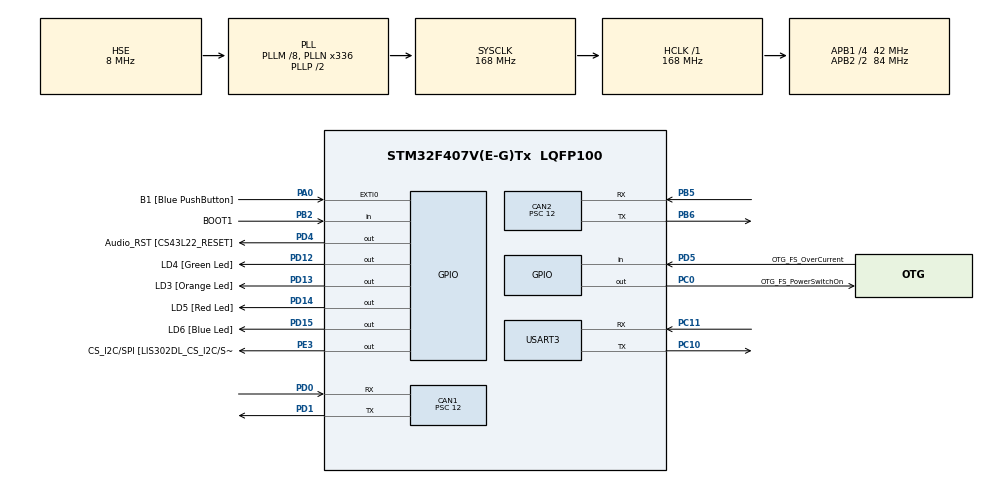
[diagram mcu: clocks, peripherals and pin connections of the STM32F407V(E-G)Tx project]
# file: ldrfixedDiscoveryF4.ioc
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CAN1.BS1=CAN_BS1_5TQ
CAN1.CalculateBaudRate=500000
CAN1.CalculateTimeBit=2000
CAN1.CalculateTimeQuantum=285.7142857142857
CAN1.Prescaler=12
CAN2.BS1=CAN_BS1_5TQ
CAN2.CalculateBaudRate=500000
CAN2.CalculateTimeBit=2000
CAN2.CalculateTimeQuantum=285.7142857142857
CAN2.Prescaler=12
Mcu.Family=STM32F4
Mcu.Name=STM32F407V(E-G)Tx
Mcu.Package=LQFP100
NVIC.CAN1_RX0_IRQn=true\:5\:0\:true\:false\:true\:true\:true\:true
NVIC.CAN1_RX1_IRQn=true\:5\:0\:true\:false\:true\:true\:true\:true
NVIC.CAN1_TX_IRQn=true\:5\:0\:true\:false\:true\:true\:true\:true
NVIC.CAN2_RX0_IRQn=true\:0\:0\:false\:false\:true\:true\:true\:true
NVIC.CAN2_RX1_IRQn=true\:0\:0\:false\:false\:true\:true\:true\:true
NVIC.CAN2_TX_IRQn=true\:0\:0\:false\:false\:true\:true\:true\:true
NVIC.PriorityGroup=NVIC_PRIORITYGROUP_4
NVIC.USART3_IRQn=true\:5\:0\:true\:false\:true\:true\:true\:true
PA0-WKUP.GPIO_Label=B1 [Blue PushButton]
PA0-WKUP.Signal=GPXTI0
PA13.GPIO_Label=SWDIO
PA13.Mode=Serial_Wire
PA13.Signal=SYS_JTMS-SWDIO
PA14.GPIO_Label=SWCLK
PA14.Mode=Serial_Wire
PA14.Signal=SYS_JTCK-SWCLK
PB2.GPIO_Label=BOOT1
PB2.GPIO_Mode=GPIO_MODE_INPUT
PB2.GPIO_PuPd=GPIO_NOPULL
PB2.Signal=GPIO_Input
PB5.Mode=CAN_Activate
PB5.Signal=CAN2_RX
PB6.Mode=CAN_Activate
PB6.Signal=CAN2_TX
PC0.GPIO_Label=OTG_FS_PowerSwitchOn
PC0.GPIO_PuPd=GPIO_NOPULL
PC0.GPIO_Speed=GPIO_SPEED_FREQ_LOW
PC0.PinState=GPIO_PIN_SET
PC0.Signal=GPIO_Output
PC10.Mode=Asynchronous
PC10.Signal=USART3_TX
PC11.Mode=Asynchronous
PC11.Signal=USART3_RX
PD0.Mode=CAN_Activate
PD0.Signal=CAN1_RX
PD1.Mode=CAN_Activate
PD1.Signal=CAN1_TX
PD12.GPIO_Label=LD4 [Green Led]
PD12.GPIO_PuPd=GPIO_NOPULL
PD12.GPIO_Speed=GPIO_SPEED_FREQ_LOW
PD12.Signal=GPIO_Output
PD13.GPIO_Label=LD3 [Orange Led]
PD13.GPIO_PuPd=GPIO_NOPULL
PD13.GPIO_Speed=GPIO_SPEED_FREQ_LOW
PD13.Signal=GPIO_Output
PD14.GPIO_Label=LD5 [Red Led]
PD14.GPIO_PuPd=GPIO_NOPULL
PD14.GPIO_Speed=GPIO_SPEED_FREQ_LOW
PD14.Signal=GPIO_Output
PD15.GPIO_Label=LD6 [Blue Led]
PD15.GPIO_PuPd=GPIO_NOPULL
PD15.GPIO_Speed=GPIO_SPEED_FREQ_LOW
PD15.Signal=GPIO_Output
PD4.GPIO_Label=Audio_RST [CS43L22_RESET]
PD4.GPIO_PuPd=GPIO_NOPULL
PD4.GPIO_Speed=GPIO_SPEED_FREQ_LOW
PD4.Signal=GPIO_Output
PD5.GPIO_Label=OTG_FS_OverCurrent
PD5.GPIO_Mode=GPIO_MODE_INPUT
PD5.GPIO_PuPd=GPIO_NOPULL
PD5.Signal=GPIO_Input
PE3.GPIO_Label=CS_I2C/SPI [LIS302DL_CS_I2C/SPI]
PE3.GPIO_PuPd=GPIO_NOPULL
PE3.GPIO_Speed=GPIO_SPEED_FREQ_LOW
PE3.Signal=GPIO_Output
PH0-OSC_IN.GPIO_Label=PH0-OSC_IN
PH0-OSC_IN.Mode=HSE-External-Oscillator
PH0-OSC_IN.Signal=RCC_OSC_IN
PH1-OSC_OUT.GPIO_Label=PH1-OSC_OUT
PH1-OSC_OUT.Mode=HSE-External-Oscillator
PH1-OSC_OUT.Signal=RCC_OSC_OUT
ProjectManager.HeapSize=0x200
ProjectManager.StackSize=0x400
ProjectManager.TargetToolchain=Makefile
RCC.48MHZClocksFreq_Value=48000000
RCC.AHBFreq_Value=168000000
RCC.APB1CLKDivider=RCC_HCLK_DIV4
RCC.APB1Freq_Value=42000000
RCC.APB1TimFreq_Value=84000000
RCC.APB2CLKDivider=RCC_HCLK_DIV2
RCC.APB2Freq_Value=84000000
RCC.APB2TimFreq_Value=168000000
RCC.CortexFreq_Value=168000000
RCC.HCLKFreq_Value=168000000
RCC.HSE_VALUE=8000000
RCC.HSI_VALUE=16000000
RCC.LSE_VALUE=32768
RCC.PLLM=8
RCC.PLLN=336
RCC.PLLQ=7
RCC.PLLSourceVirtual=RCC_PLLSOURCE_HSE
RCC.SYSCLKFreq_VALUE=168000000
RCC.SYSCLKSource=RCC_SYSCLKSOURCE_PLLCLK
RCC.VCOOutputFreq_Value=336000000
USART3.VirtualMode=VM_ASYNC
VP_CRC_VS_CRC.Mode=CRC_Activate
VP_WWDG_VS_WWDG.Mode=WWDG_Activate
board=STM32F407G-DISC1

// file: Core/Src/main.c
/* USER CODE BEGIN Header */
/**
  ******************************************************************************
  * @file           : main.c
  * @brief          : Main program body
  ******************************************************************************
  * @attention
  *
  * Copyright (c) 2025 STMicroelectronics.
  * All rights reserved.
  *
  * This software is licensed under terms that can be found in the LICENSE file
  * in the root directory of this software component.
  * If no LICENSE file comes with this software, it is provided AS-IS.
  *
  ******************************************************************************
  */
/* USER CODE END Header */
#include "main.h"

/* USER CODE BEGIN Includes */
#include <stdio.h>
#include <string.h>
#include "DTW_counter.h"
#include "system_reset.h"
#include "morse.h"
#include "canwinch_ldrproto.h"
#include "can_iface.h"
#include "canfilter_setup.h"
#include "flash_write.h"
#include "crc-chk-compute.h"

#include "crc-32_hw.h"
#include "crc-32_sw.h"

#include "crc-32_nib.h"
#include "crc-32_min.h"

#include "db/gen_db.h"

extern uint32_t __appbegin;

//#define SYSCLOCKFREQ 168000000
#define UI unsigned int // Cast for eliminating printf warnings

#if 0
/* &&&&&&&&&&&&& Each node on the CAN bus gets a unit number &&&&&&&&&&&&&&&&&&&&&&&&&& */
#include "db/gen_db.h"
#define   IAMUNITNUMBER   CANID_UNIT_BMS03  /* Fixed loader (serial number concept) */
#define   BOARDTYPE   3   /* Board type (e.g. shaft encoder, manifold pressure, tension,... */
/* &&&&&&&&&&&&&&&&&&&&&&&&&&&&&&&&&&&&&&&&&&&&&&&&&&&&&&&&&&&&&&&&&&&&&&&&&&&&&&&&&&&& */
#endif

/* USER CODE END Includes */

/* USER CODE BEGIN PTD */
uint32_t pgblocksize1;
 uint32_t unique_id[3];
 uint32_t can_waitdelay_ct;
 uint32_t end_flash;
 uint16_t flashsize;
 uint8_t ldr_phase;

uint64_t binchksum;
uint32_t* papp_crc;
uint32_t* papp_chk;
uint32_t waitctr;
 uint8_t apperr;

 struct CRCCHKEMBED crcchkembed;
 struct CRC_CHK crc_chk;

 /* Milliseconds that prevents loop in main from jumping to app. */
extern int32_t squelch_ms;
extern uint8_t squelch_flag;
extern uint32_t dtwmsnext;

/* .ramcode pointers. (See .ld file) */
uint8_t sramcode_sw;
extern uint8_t* _siramcode;
extern uint8_t* _sramcode;
extern uint8_t  _eramcode;

unsigned int ck;
uint32_t chkctr;

 struct CAN_CTLBLOCK* pctl0; // Pointer to CAN1 control block
//struct CAN_CTLBLOCK* pctl1; // Pointer to CAN2 control block

uint32_t debugTX1b;
uint32_t debugTX1b_prev;

uint32_t debugTX1c;
uint32_t debugTX1c_prev;
/* USER CODE END PTD */

CAN_HandleTypeDef hcan1;
CAN_HandleTypeDef hcan2;

CRC_HandleTypeDef hcrc;

UART_HandleTypeDef huart3;

WWDG_HandleTypeDef hwwdg;

void SystemClock_Config(void);
static void MX_GPIO_Init(void);
static void MX_CAN1_Init(void);
static void MX_USART3_UART_Init(void);
static void MX_CAN2_Init(void);
static void MX_CRC_Init(void);
static void MX_WWDG_Init(void);

/* USER CODE BEGIN 0 */
#ifdef __GNUC__
#define PUTCHAR_PROTOTYPE int __io_putchar(int ch)
#else
#define PUTCHAR_PROTOTYPE int fputc(int ch, FILE *f)
#endif

PUTCHAR_PROTOTYPE
{
  HAL_UART_Transmit(&huart3, (uint8_t *)&ch, 1, HAL_MAX_DELAY);
  return ch;
}
/* USER CODE END 0 */

int main(void)
{

  /* USER CODE BEGIN 1 */
   volatile uint32_t dtw; // DTW time
/* --------------------- Type of RESET detection and dispatch ------------------------------------- */
  extern void* __appjump; // Defined in ldr.ld file
#if 1
  /* Check type of RESET and set us on the correct journey. */
  uint32_t rcc_csr = RCC->CSR;  // Get reset flags
  /* NOTE: RMVF is bit 23 for L431. */
  RCC->CSR |= (1 << 24); // Bit 24 RMVF: Remove reset flag (prep for next RESET)
  if (rcc_csr & (1 << 29))  // Was it Independent watchdog reset flag?
  { // Here, yes. The app's embedded crc and checksum are OK.
    *(uint32_t*)ADDR_SCB_VTOR = 0x10000; // Shift vector table to new position.

    __DSB(); // Data barrier sync, JIC

    /* Jump to app. */
    (*(  (void (*)(void))__appjump)  )(); // Indirect via label in .ld file
  }
  /* Here, not the IWDG flag, so printf some stuff and wait for possible download, before app jump. */
#endif

  /* USER CODE END 1 */

  /* MCU Configuration--------------------------------------------------------*/

  /* Reset of all peripherals, Initializes the Flash interface and the Systick. */
  HAL_Init();

  /* Configure the system clock */
  SystemClock_Config();

  /* Initialize all configured peripherals */
  MX_GPIO_Init();
  MX_CAN1_Init();
  MX_USART3_UART_Init();
  MX_CAN2_Init();
  MX_CRC_Init();
//  MX_WWDG_Init();

  /* USER CODE BEGIN 2 */
  DTW_counter_init();

  /* CAN ID for this node is passed in to make from command line. */
  unsigned int i_am_canid = I_AM_CANID;

  /* Copy code that runs in sram. */
  if (sramcode_sw == 0)
  {
    sramcode_sw = 1;
    memmove(&_sramcode, &_siramcode, ((uint32_t)&_eramcode - (uint32_t)&_sramcode));
  }

   printf("\n\n\n\r######### ldrfixedDiscoveryF4 STARTS, 0x%0X\n",i_am_canid);

   // CubeMX may have these initially RESET which is ON.
   // DiscoveryF4 0 = off; 1 = on
   //HAL_GPIO_WritePin(GPIOB, LED_RED_Pin|LED_GRN_Pin, GPIO_PIN_SET);

/* Setup TX linked list  and RX buffer for CAN  */
   // CAN1 (CAN_HandleTypeDef *phcan, uint8_t canidx, uint16_t numtx, uint16_t numrx);
  pctl0 = can_iface_init(&hcan1, 0, 16, 2048);
  if (pctl0 == NULL) morse_trap(118); // Panic LED flashing
  if (pctl0->ret < 0) morse_trap(119);

  /* Setup CAN hardware filters to default to accept all ids. */
  HAL_StatusTypeDef Cret;
  Cret = canfilter_setup_first(0, &hcan1, 15); // CAN1
  if (Cret == HAL_ERROR) morse_trap(122);

/* @brief : Add a 32b id, advance bank number & odd/even
 * @param : cannum = CAN module number 1, 2, or 3
 * @param : phcan = Pointer to HAL CAN handle (control block)
 * @param : id    = 32b CAN id
 * @param : fifo  = fifo: 0 or 1
 * @return  : HAL_ERROR or HAL_OK  */
  Cret = canfilter_setup_add32b_id(1, &hcan1, i_am_canid, 0);
  if (Cret == HAL_ERROR) morse_trap(123);

      /* Select interrupts for CAN1 */
  HAL_CAN_ActivateNotification(&hcan1, \
    CAN_IT_TX_MAILBOX_EMPTY     |  \
    CAN_IT_RX_FIFO0_MSG_PENDING |  \
    CAN_IT_RX_FIFO1_MSG_PENDING    );

  #define DTW_INC_printf (1000 * 168000) // 168 MHz sysclock
  uint32_t DTW_next_LED = DTWTIME;
  #define DTW_INC_LED (250 * 168000)
  uint32_t DTW_next_printf = DTWTIME;

  unsigned int mctr = 0;

  pgblocksize1 = PGBUFSIZE; //
  unique_id[0] = *(uint32_t*)(ADDR_UNIQUE_ID+0);
  unique_id[1] = *(uint32_t*)(ADDR_UNIQUE_ID+1);
  unique_id[2] = *(uint32_t*)(ADDR_UNIQUE_ID+2);
  flashsize = *(uint16_t*)FLASH_SIZE_REG;
  end_flash = flashsize*1024 + 0x08000000;
  printf("\n\rUnique ID : %08X %08X %08X",(UI)unique_id[0],(UI)unique_id[1],(UI)unique_id[2]);
  printf("\n\rFlash size:     %uK\n\r",(UI)flashsize);
  printf("\n\rEnd addr  :    0x%08X end_flash\n\r",(UI)end_flash);

/* -------------- Get the program loader stuff setup -------------------------------------- */
//  canwinch_ldrproto_init(IAMUNITNUMBER);
  canwinch_ldrproto_init(i_am_canid);

  // for debug multipy the increment to give the hapless Op time to think
  can_waitdelay_ct = (DTWTIME + 1*SYSCLOCKFREQ); // Time duration between heartbeat CAN msgs while waiting

 // printf("\n\r\nAddresses: &__appjump %08X   __appjump %08X\n\r",(UI)&__appjump,(UI)__appjump);

  /* ----------------- CRC|checksum check of application. ---------------------------------- */

  int16_t apperr = crc_chk_compute_getembed(&crcchkembed);
  if (apperr == 0)
  {
    crc_chk_compute_app(&crc_chk, crcchkembed.pend);
    /* Do embedded crc and chk match computed crc and chk? */
    if ((crcchkembed.crc_chk.crc != crc_chk.crc) ||
        (crcchkembed.crc_chk.chk != crc_chk.chk) )
    { // Here, no.
      apperr = -9; // Compare: mismatch
    }
  }

  HAL_CAN_Start(&hcan1); // CAN1
  waitctr = 0;

  CRC->CR = 0x01; // 32b poly, + reset CRC computation

  /* USER CODE END 2 */

  /* Infinite loop */
  while (1)
  {

    /* USER CODE BEGIN 3 */

    /* Time how long squelch will be in effect. */
    if ((squelch_flag != 0) && ((int32_t)(DTWTIME - dtwmsnext) > 0))
    { // Here, CAN msg set squelch and time duration
      dtwmsnext += SYSCLOCKFREQ/10; // 100 ms steps
      squelch_ms -= 100;
      if (squelch_ms <= 0)
      {
        squelch_flag = 0;
      }
    }

    if ((int32_t)(DTWTIME - DTW_next_printf) > 0)
    {
      DTW_next_printf = DTW_next_printf + DTW_INC_printf;
      if (ldr_phase == 0)
      {
        printf("%5u ldrfixedF446 waiting\n\r",mctr++);
      }
    }

    /* LED blinking */
    if ((int32_t)(DTWTIME - DTW_next_LED) > 0)
    {
      DTW_next_LED = DTW_next_LED + DTW_INC_LED;
      if ((GPIOD->ODR & (1<<14)) == 0)
           GPIOD->BSRR = (1<<14);
      else
           GPIOD->BSRR = (1<<(14+16));
    }

    /* The following is needed if IWDG was enabled in 'MX' */
    IWDG->KR  = 0xAAAA; // Reload the watchdog

    /* Do loader'ing, if there are applicable msgs. */
    canwinch_ldrproto_poll(i_am_canid); //

    /* Have we written to flash?  If so, don't jump to the the app unless commanded. */
    if (ldr_phase == 0)
    { // Here, we haven't done anything to disturb the integrity of the app
      if (  ((int)can_waitdelay_ct - (int)(DTWTIME)) < 0 )
      { // We timed out.
        can_waitdelay_ct = (DTWTIME + 1*SYSCLOCKFREQ);
        waitctr += 1;
        if (waitctr < 7)
        { // Here, send a heartbeat CAN msg with status
 //         if (squelch_flag == 0)
          {
            sendcanCMD_PAY1(CMD_CMD_HEARTBEAT,apperr);
          }
        }
        else
        { // Here, timed out. Either jump to app, or reset
          if ((apperr != 0) && (squelch_flag == 0))
          { // Here app does not pass checks: jump address, crc and/or checksum mismatch
           system_reset(); // Software reset
          // system_reset never returns
          }

#if 0
          // Here, no apperr.
         /* Shift vector table to new position. */
          *(uint32_t*)ADDR_SCB_VTOR = 0x10000;

          __DSB(); // Data barrier sync, JIC

          /* Jump to app. */
          (*(  (void (*)(void))__appjump)  )(); // Indirect via label in .ld file
#endif

#if 1
          /* Set Indpendent Watch Dog and let it cause a reset. */
printf("\n\rIWDG set\n\r");
dtw = (DTWTIME + (SYSCLOCKFREQ/2)); // Wait 1/2 sec for printf to complete
while (  ((int)dtw - (int)(DTWTIME)) > 0 );
          RCC->CSR |= (1<<0);   // LSI enable, necessary for IWDG
          while ((RCC->CSR & (1<<1)) == 0);  // wait till LSI is ready
            IWDG->KR  = 0x5555; // enable write to PR, RLR
            IWDG->PR  = 0;      // Init prescaler
            IWDG->RLR = 0x100;  // Init RLR
            IWDG->KR  = 0xAAAA; // Reload the watchdog
            IWDG->KR  = 0xCCCC; // Start the watchdog
          while (1==1);
#endif
        }
      }
    }
  }
  /* USER CODE END 3 */
}

void SystemClock_Config(void)
{
  RCC_OscInitTypeDef RCC_OscInitStruct = {0};
  RCC_ClkInitTypeDef RCC_ClkInitStruct = {0};

  /** Configure the main internal regulator output voltage
  */
  __HAL_RCC_PWR_CLK_ENABLE();
  __HAL_PWR_VOLTAGESCALING_CONFIG(PWR_REGULATOR_VOLTAGE_SCALE1);

  /** Initializes the RCC Oscillators according to the specified parameters
  * in the RCC_OscInitTypeDef structure.
  */
  RCC_OscInitStruct.OscillatorType = RCC_OSCILLATORTYPE_HSE;
  RCC_OscInitStruct.HSEState = RCC_HSE_ON;
  RCC_OscInitStruct.PLL.PLLState = RCC_PLL_ON;
  RCC_OscInitStruct.PLL.PLLSource = RCC_PLLSOURCE_HSE;
  RCC_OscInitStruct.PLL.PLLM = 8;
  RCC_OscInitStruct.PLL.PLLN = 336;
  RCC_OscInitStruct.PLL.PLLP = RCC_PLLP_DIV2;
  RCC_OscInitStruct.PLL.PLLQ = 7;
  if (HAL_RCC_OscConfig(&RCC_OscInitStruct) != HAL_OK)
  {
    Error_Handler();
  }

  /** Initializes the CPU, AHB and APB buses clocks
  */
  RCC_ClkInitStruct.ClockType = RCC_CLOCKTYPE_HCLK|RCC_CLOCKTYPE_SYSCLK
                              |RCC_CLOCKTYPE_PCLK1|RCC_CLOCKTYPE_PCLK2;
  RCC_ClkInitStruct.SYSCLKSource = RCC_SYSCLKSOURCE_PLLCLK;
  RCC_ClkInitStruct.AHBCLKDivider = RCC_SYSCLK_DIV1;
  RCC_ClkInitStruct.APB1CLKDivider = RCC_HCLK_DIV4;
  RCC_ClkInitStruct.APB2CLKDivider = RCC_HCLK_DIV2;

  if (HAL_RCC_ClockConfig(&RCC_ClkInitStruct, FLASH_LATENCY_5) != HAL_OK)
  {
    Error_Handler();
  }
}

static void MX_CAN1_Init(void)
{

  hcan1.Instance = CAN1;
  hcan1.Init.Prescaler = 12;
  hcan1.Init.Mode = CAN_MODE_NORMAL;
  hcan1.Init.SyncJumpWidth = CAN_SJW_1TQ;
  hcan1.Init.TimeSeg1 = CAN_BS1_5TQ;
  hcan1.Init.TimeSeg2 = CAN_BS2_1TQ;
  hcan1.Init.TimeTriggeredMode = DISABLE;
  hcan1.Init.AutoBusOff = DISABLE;
  hcan1.Init.AutoWakeUp = DISABLE;
  hcan1.Init.AutoRetransmission = DISABLE;
  hcan1.Init.ReceiveFifoLocked = DISABLE;
  hcan1.Init.TransmitFifoPriority = DISABLE;
  if (HAL_CAN_Init(&hcan1) != HAL_OK)
  {
    Error_Handler();
  }

}

static void MX_CAN2_Init(void)
{

  hcan2.Instance = CAN2;
  hcan2.Init.Prescaler = 12;
  hcan2.Init.Mode = CAN_MODE_NORMAL;
  hcan2.Init.SyncJumpWidth = CAN_SJW_1TQ;
  hcan2.Init.TimeSeg1 = CAN_BS1_5TQ;
  hcan2.Init.TimeSeg2 = CAN_BS2_1TQ;
  hcan2.Init.TimeTriggeredMode = DISABLE;
  hcan2.Init.AutoBusOff = DISABLE;
  hcan2.Init.AutoWakeUp = DISABLE;
  hcan2.Init.AutoRetransmission = DISABLE;
  hcan2.Init.ReceiveFifoLocked = DISABLE;
  hcan2.Init.TransmitFifoPriority = DISABLE;
  if (HAL_CAN_Init(&hcan2) != HAL_OK)
  {
    Error_Handler();
  }

}

static void MX_CRC_Init(void)
{

  hcrc.Instance = CRC;
  if (HAL_CRC_Init(&hcrc) != HAL_OK)
  {
    Error_Handler();
  }

}

static void MX_USART3_UART_Init(void)
{

  huart3.Instance = USART3;
  huart3.Init.BaudRate = 115200;
  huart3.Init.WordLength = UART_WORDLENGTH_8B;
  huart3.Init.StopBits = UART_STOPBITS_1;
  huart3.Init.Parity = UART_PARITY_NONE;
  huart3.Init.Mode = UART_MODE_TX_RX;
  huart3.Init.HwFlowCtl = UART_HWCONTROL_NONE;
  huart3.Init.OverSampling = UART_OVERSAMPLING_16;
  if (HAL_UART_Init(&huart3) != HAL_OK)
  {
    Error_Handler();
  }

}

static void MX_WWDG_Init(void)
{

  hwwdg.Instance = WWDG;
  hwwdg.Init.Prescaler = WWDG_PRESCALER_1;
  hwwdg.Init.Window = 64;
  hwwdg.Init.Counter = 64;
  hwwdg.Init.EWIMode = WWDG_EWI_DISABLE;
  if (HAL_WWDG_Init(&hwwdg) != HAL_OK)
  {
    Error_Handler();
  }

}

static void MX_GPIO_Init(void)
{
  GPIO_InitTypeDef GPIO_InitStruct = {0};

  /* GPIO Ports Clock Enable */
  __HAL_RCC_GPIOE_CLK_ENABLE();
  __HAL_RCC_GPIOH_CLK_ENABLE();
  __HAL_RCC_GPIOC_CLK_ENABLE();
  __HAL_RCC_GPIOA_CLK_ENABLE();
  __HAL_RCC_GPIOB_CLK_ENABLE();
  __HAL_RCC_GPIOD_CLK_ENABLE();

  /*Configure GPIO pin Output Level */
  HAL_GPIO_WritePin(CS_I2C_SPI_GPIO_Port, CS_I2C_SPI_Pin, GPIO_PIN_RESET);

  /*Configure GPIO pin Output Level */
  HAL_GPIO_WritePin(OTG_FS_PowerSwitchOn_GPIO_Port, OTG_FS_PowerSwitchOn_Pin, GPIO_PIN_SET);

  /*Configure GPIO pin Output Level */
  HAL_GPIO_WritePin(GPIOD, LD4_Pin|LD3_Pin|LD5_Pin|LD6_Pin
                          |Audio_RST_Pin, GPIO_PIN_RESET);

  /*Configure GPIO pin : CS_I2C_SPI_Pin */
  GPIO_InitStruct.Pin = CS_I2C_SPI_Pin;
  GPIO_InitStruct.Mode = GPIO_MODE_OUTPUT_PP;
  GPIO_InitStruct.Pull = GPIO_NOPULL;
  GPIO_InitStruct.Speed = GPIO_SPEED_FREQ_LOW;
  HAL_GPIO_Init(CS_I2C_SPI_GPIO_Port, &GPIO_InitStruct);

  /*Configure GPIO pin : OTG_FS_PowerSwitchOn_Pin */
  GPIO_InitStruct.Pin = OTG_FS_PowerSwitchOn_Pin;
  GPIO_InitStruct.Mode = GPIO_MODE_OUTPUT_PP;
  GPIO_InitStruct.Pull = GPIO_NOPULL;
  GPIO_InitStruct.Speed = GPIO_SPEED_FREQ_LOW;
  HAL_GPIO_Init(OTG_FS_PowerSwitchOn_GPIO_Port, &GPIO_InitStruct);

  /*Configure GPIO pin : B1_Pin */
  GPIO_InitStruct.Pin = B1_Pin;
  GPIO_InitStruct.Mode = GPIO_MODE_IT_RISING;
  GPIO_InitStruct.Pull = GPIO_NOPULL;
  HAL_GPIO_Init(B1_GPIO_Port, &GPIO_InitStruct);

  /*Configure GPIO pin : BOOT1_Pin */
  GPIO_InitStruct.Pin = BOOT1_Pin;
  GPIO_InitStruct.Mode = GPIO_MODE_INPUT;
  GPIO_InitStruct.Pull = GPIO_NOPULL;
  HAL_GPIO_Init(BOOT1_GPIO_Port, &GPIO_InitStruct);

  /*Configure GPIO pins : LD4_Pin LD3_Pin LD5_Pin LD6_Pin
                           Audio_RST_Pin */
  GPIO_InitStruct.Pin = LD4_Pin|LD3_Pin|LD5_Pin|LD6_Pin
                          |Audio_RST_Pin;
  GPIO_InitStruct.Mode = GPIO_MODE_OUTPUT_PP;
  GPIO_InitStruct.Pull = GPIO_NOPULL;
  GPIO_InitStruct.Speed = GPIO_SPEED_FREQ_LOW;
  HAL_GPIO_Init(GPIOD, &GPIO_InitStruct);

  /*Configure GPIO pin : OTG_FS_OverCurrent_Pin */
  GPIO_InitStruct.Pin = OTG_FS_OverCurrent_Pin;
  GPIO_InitStruct.Mode = GPIO_MODE_INPUT;
  GPIO_InitStruct.Pull = GPIO_NOPULL;
  HAL_GPIO_Init(OTG_FS_OverCurrent_GPIO_Port, &GPIO_InitStruct);

}

void Error_Handler(void)
{
  __disable_irq();
  while (1)
  {
  }
}
